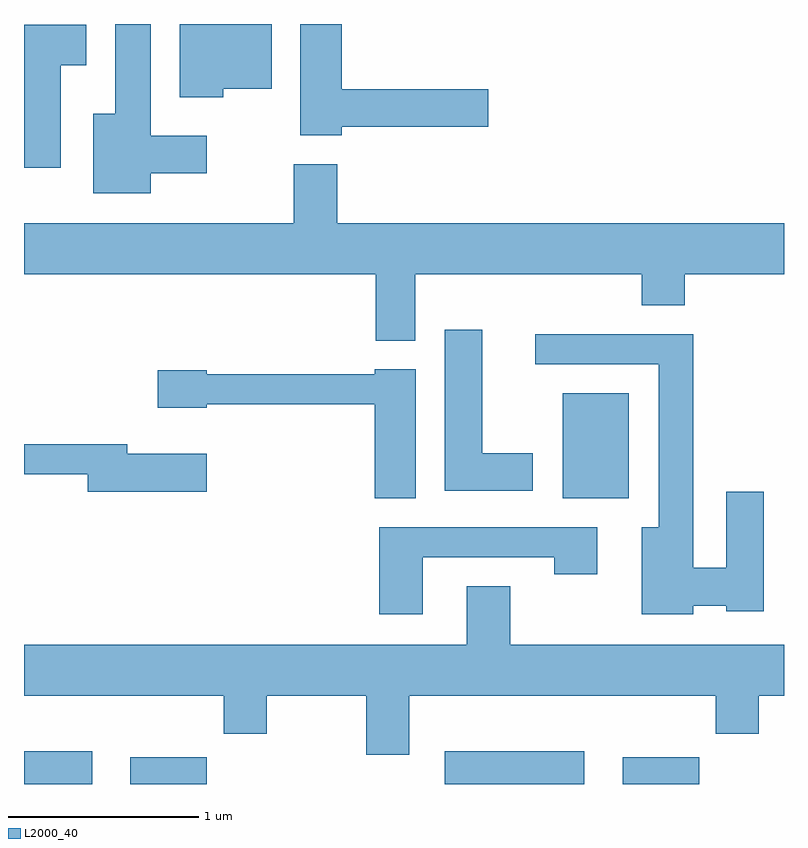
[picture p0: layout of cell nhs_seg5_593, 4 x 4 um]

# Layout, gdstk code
import gdstk
lib = gdstk.Library(unit=1e-6, precision=1e-09)
def R(c, l, rs):  # rectangles x0, y0, x1, y1
    for r in rs: c.add(gdstk.rectangle(r[:2], r[2:], *l))
def P(c, l, *ps):  # polygons
    for p in ps: c.add(gdstk.Polygon(p, *l))
L2000_40 = (2000, 40)

nhs_seg5_593 = lib.new_cell('nhs_seg5_593')
R(nhs_seg5_593, L2000_40, [(201.611,1494.072,201.969,1494.244), (202.171,1494.072,202.574,1494.214), (203.826,1494.072,204.559,1494.244), (204.761,1494.072,205.164,1494.214), (204.446,1495.576,204.794,1496.129)])
P(nhs_seg5_593, L2000_40, [(202.659,1497.731),(202.914,1497.731),(202.914,1498.072),(202.431,1498.072),(202.431,1497.686),(202.659,1497.686)],
  [(203.284,1497.531),(204.054,1497.531),(204.054,1497.729),(203.284,1497.729),(203.284,1498.072),(203.066,1498.072),(203.066,1497.486),(203.284,1497.486)],
  [(202.279,1497.286),(202.574,1497.286),(202.574,1497.484),(202.279,1497.484),(202.279,1498.072),(202.091,1498.072),(202.091,1497.599),(201.976,1497.599),(201.976,1497.181),(202.279,1497.181)],
  [(201.804,1497.856),(201.939,1497.856),(201.939,1498.069),(201.611,1498.069),(201.611,1497.316),(201.804,1497.316)],
  [(203.669,1496.756),(204.861,1496.756),(204.861,1496.591),(205.089,1496.591),(205.089,1496.756),(205.611,1496.756),(205.611,1497.024),(203.259,1497.024),(203.259,1497.334),(203.031,1497.334),(203.031,1497.024),(201.611,1497.024),(201.611,1496.756),(203.461,1496.756),(203.461,1496.406),(203.669,1496.406)],
  [(204.289,1495.814),(204.024,1495.814),(204.024,1496.464),(203.826,1496.464),(203.826,1495.616),(204.289,1495.616)],
  [(205.134,1495.011),(205.306,1495.011),(205.306,1494.981),(205.504,1494.981),(205.504,1495.609),(205.306,1495.609),(205.306,1495.209),(205.134,1495.209),(205.134,1496.439),(204.303,1496.439),(204.303,1496.281),(204.951,1496.281),(204.951,1495.424),(204.861,1495.424),(204.861,1494.966),(205.134,1494.966)],
  [(203.674,1496.254),(203.456,1496.254),(203.456,1496.229),(202.574,1496.229),(202.574,1496.249),(202.316,1496.249),(202.316,1496.051),(202.574,1496.051),(202.574,1496.071),(203.456,1496.071),(203.456,1495.576),(203.674,1495.576)],
  [(202.574,1495.809),(202.154,1495.809),(202.154,1495.859),(201.611,1495.859),(201.611,1495.701),(201.946,1495.701),(201.946,1495.611),(202.574,1495.611)],
  [(203.709,1495.266),(204.401,1495.266),(204.401,1495.176),(204.629,1495.176),(204.629,1495.424),(203.481,1495.424),(203.481,1494.966),(203.709,1494.966)],
  [(203.639,1494.536),(205.251,1494.536),(205.251,1494.336),(205.479,1494.336),(205.479,1494.536),(205.611,1494.536),(205.611,1494.804),(204.169,1494.804),(204.169,1495.114),(203.941,1495.114),(203.941,1494.804),(201.611,1494.804),(201.611,1494.536),(202.661,1494.536),(202.661,1494.336),(202.889,1494.336),(202.889,1494.536),(203.411,1494.536),(203.411,1494.226),(203.639,1494.226)])

lib.write_gds('nhs_seg5_593.gds')
